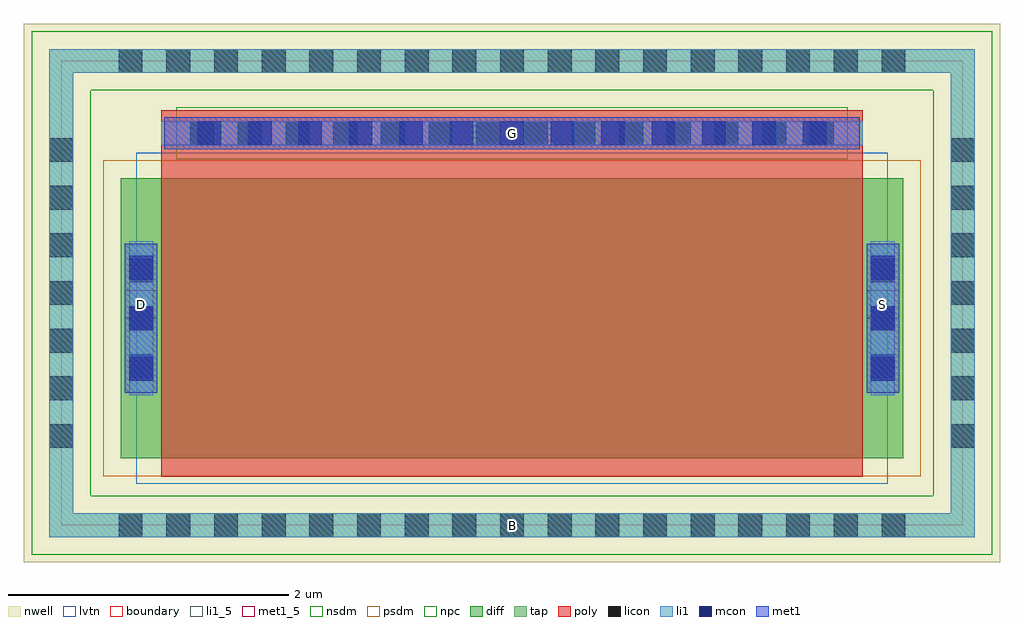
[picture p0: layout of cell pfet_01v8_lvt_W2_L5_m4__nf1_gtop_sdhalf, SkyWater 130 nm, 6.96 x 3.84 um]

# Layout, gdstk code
import gdstk
lib = gdstk.Library(unit=1e-6, precision=1e-09)
def R(c, l, rs):  # rectangles x0, y0, x1, y1
    for r in rs: c.add(gdstk.rectangle(r[:2], r[2:], *l))
def A(c, l, x, y, w, h, nx, ny, dx, dy):  # array of equal rectangles
    R(c, l, [(x+i*dx, y+j*dy, x+i*dx+w, y+j*dy+h) for i in range(nx) for j in range(ny)])
nwell = (64, 20)
diff = (65, 20)
tap = (65, 44)
poly = (66, 20)
licon = (66, 44)
li1_5 = (67, 5)
li1 = (67, 20)
mcon = (67, 44)
met1_5 = (68, 5)
met1 = (68, 20)
nsdm = (93, 44)
psdm = (94, 20)
npc = (95, 20)
lvtn = (125, 44)
boundary = (235, 4)

sky130_fd_pr__pfet_01v8_ = lib.new_cell('sky130_fd_pr__pfet_01v8_lvt_H238BK')
R(sky130_fd_pr__pfet_01v8_, nwell, [(-3.48,-1.92,3.48,1.92)])
R(sky130_fd_pr__pfet_01v8_, diff, [(-2.79,-1.18,2.79,0.82)])
R(sky130_fd_pr__pfet_01v8_, tap, [(-3.3,-1.74,3.3,-1.57), (-3.3,-1.57,-3.13,1.57), (3.13,-1.57,3.3,1.57), (-3.3,1.57,3.3,1.74)])
R(sky130_fd_pr__pfet_01v8_, poly, [(-2.5,-1.31,2.5,1.305)])
A(sky130_fd_pr__pfet_01v8_, licon, -2.805, -1.74, 0.17, 0.17, 17, 2, 0.34, 3.31)
A(sky130_fd_pr__pfet_01v8_, licon, -3.3, -1.105, 0.17, 0.17, 1, 7, 0, 0.34)
A(sky130_fd_pr__pfet_01v8_, licon, 3.13, -1.105, 0.17, 0.17, 1, 7, 0, 0.34)
A(sky130_fd_pr__pfet_01v8_, licon, -2.73, -0.605, 0.17, 0.17, 1, 3, 0, 0.34)
A(sky130_fd_pr__pfet_01v8_, licon, 2.56, -0.605, 0.17, 0.17, 1, 3, 0, 0.34)
A(sky130_fd_pr__pfet_01v8_, licon, -2.295, 1.055, 0.17, 0.17, 14, 1, 0.34, 0)
R(sky130_fd_pr__pfet_01v8_, li1, [(-3.3,-1.74,3.3,-1.57), (-3.3,-1.57,-3.13,1.57), (3.13,-1.57,3.3,1.57), (-2.73,-0.73,-2.56,0.37), (2.56,-0.73,2.73,0.37), (-2.5,1.055,2.5,1.225), (-3.3,1.57,3.3,1.74)])
A(sky130_fd_pr__pfet_01v8_, mcon, -2.73, -0.625, 0.17, 0.17, 1, 3, 0, 0.36)
A(sky130_fd_pr__pfet_01v8_, mcon, 2.56, -0.625, 0.17, 0.17, 1, 3, 0, 0.36)
A(sky130_fd_pr__pfet_01v8_, mcon, -2.245, 1.055, 0.17, 0.17, 13, 1, 0.36, 0)
R(sky130_fd_pr__pfet_01v8_, met1, [(-2.76,-0.71,-2.53,0.35), (2.53,-0.71,2.76,0.35), (-2.48,1.025,2.48,1.255)])
R(sky130_fd_pr__pfet_01v8_, nsdm, [(-3.425,-1.865,3.425,-1.445), (-3.425,-1.445,-3.005,1.445), (3.005,-1.445,3.425,1.445), (-3.425,1.445,3.425,1.865)])
R(sky130_fd_pr__pfet_01v8_, psdm, [(-2.915,-1.305,2.915,0.945)])
R(sky130_fd_pr__pfet_01v8_, npc, [(-2.395,0.955,2.395,1.325)])
R(sky130_fd_pr__pfet_01v8_, lvtn, [(-2.68,-1.36,2.68,1)])
R(sky130_fd_pr__pfet_01v8_, boundary, [(-3.215,-1.655,3.215,1.655)])
sky130_fd_pr__pfet_01v8_.add(gdstk.Label('B', (0,-1.655), layer=67, texttype=5))
sky130_fd_pr__pfet_01v8_.add(gdstk.Label('D', (-2.645,-0.18), layer=67, texttype=5))
sky130_fd_pr__pfet_01v8_.add(gdstk.Label('S', (2.645,-0.18), layer=67, texttype=5))
sky130_fd_pr__pfet_01v8_.add(gdstk.Label('G', (0,1.14), layer=67, texttype=5))

pfet_01v8_lvt_w2_l5_m4__ = lib.new_cell('pfet_01v8_lvt_W2_L5_m4__nf1_gtop_sdhalf')
R(pfet_01v8_lvt_w2_l5_m4__, li1_5, [(3.13,-0.085,3.3,0.085)])
R(pfet_01v8_lvt_w2_l5_m4__, li1, [(3.13,-0.085,3.3,0.085)])
R(pfet_01v8_lvt_w2_l5_m4__, met1_5, [(0.455,1.475,0.685,1.675), (5.745,1.475,5.975,1.675), (0.735,2.68,5.695,2.91)])
R(pfet_01v8_lvt_w2_l5_m4__, met1, [(0.455,1.475,0.685,1.675), (5.745,1.475,5.975,1.675), (0.735,2.68,5.695,2.91)])
pfet_01v8_lvt_w2_l5_m4__.add(gdstk.Reference(sky130_fd_pr__pfet_01v8_, (3.215,1.655)))
pfet_01v8_lvt_w2_l5_m4__.add(gdstk.Label('D', (0.57,1.575), layer=68, texttype=5))
pfet_01v8_lvt_w2_l5_m4__.add(gdstk.Label('S', (5.86,1.575), layer=68, texttype=5))
pfet_01v8_lvt_w2_l5_m4__.add(gdstk.Label('G', (3.215,2.795), layer=68, texttype=5))
pfet_01v8_lvt_w2_l5_m4__.add(gdstk.Label('B', (3.215,0), layer=67, texttype=5))

lib.write_gds('pfet_01v8_lvt_W2_L5_m4__nf1_gtop_sdhalf.gds')
